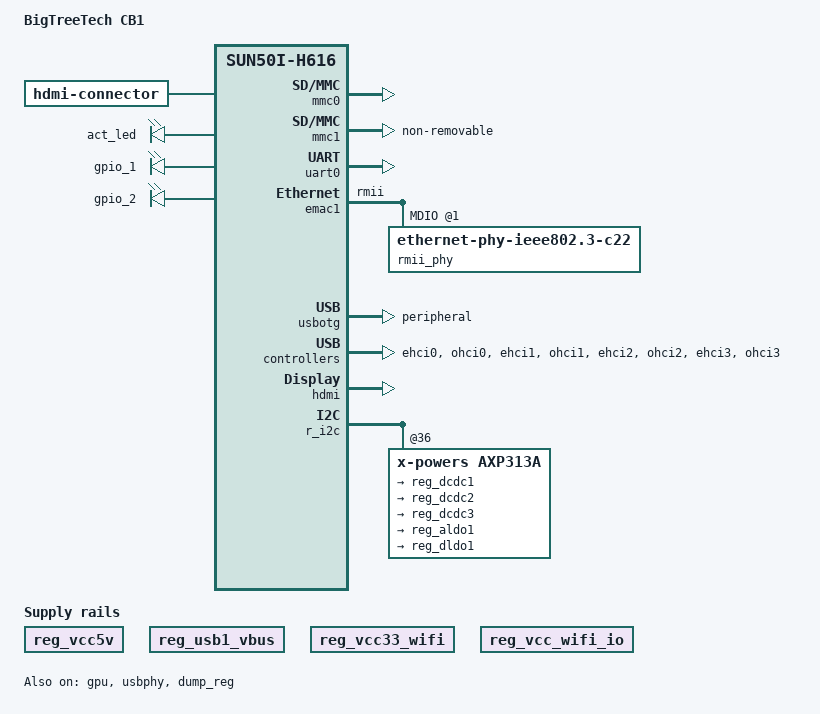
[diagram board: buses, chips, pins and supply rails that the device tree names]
/dts-v1/;

/ {
	model = "BigTreeTech CB1";
	compatible = "bigtreetech,cb1", "allwinner,sun50i-h616";

	cpus {

		cpu0: cpu@0 {
			compatible = "arm,cortex-a53";
			device_type = "cpu";
			enable-method = "psci";
			status = "okay";
		};

		cpu1: cpu@1 {
			compatible = "arm,cortex-a53";
			device_type = "cpu";
			enable-method = "psci";
		};

		cpu2: cpu@2 {
			compatible = "arm,cortex-a53";
			device_type = "cpu";
			enable-method = "psci";
		};

		cpu3: cpu@3 {
			compatible = "arm,cortex-a53";
			device_type = "cpu";
			enable-method = "psci";
		};
	};

	de: display-engine {
		compatible = "allwinner,sun50i-h6-display-engine";
		status = "okay";
	};

	reserved-memory {
		ranges;

		secmon@40000000 {
			no-map;
		};
	};

	osc24M: osc24M-clk {
		compatible = "fixed-clock";
		clock-output-names = "osc24M";
	};

	pmu {
		compatible = "arm,cortex-a53-pmu";
	};

	psci {
		compatible = "arm,psci-0.2";
		method = "smc";
	};

	timer {
		compatible = "arm,armv8-timer";
		arm,no-tick-in-suspend;
	};

	soc {
		compatible = "simple-bus";

		bus@1000000 {
			compatible = "allwinner,sun50i-h616-de33", "allwinner,sun50i-a64-de2";

			display_clocks: clock@8000 {
				compatible = "allwinner,sun50i-h616-de33-clk";
				clock-names = "mod", "bus";
			};

			mixer0: mixer@100000 {
				compatible = "allwinner,sun50i-h616-de33-mixer-0";
				clock-names = "bus", "mod";

				ports {

					mixer0_out: port@1 {

						mixer0_out_tcon_top_mixer0: endpoint {
						};
					};
				};
			};
		};

		dma: dma-controller@3002000 {
			compatible = "allwinner,sun50i-h6-dma";
			clock-names = "bus", "mbus";
		};

		gpu: gpu@1800000 {
			compatible = "allwinner,sun50i-h616-mali", "arm,mali-bifrost";
			interrupt-names = "job", "mmu", "gpu";
			clock-names = "core", "bus";
			status = "okay";
		};

		video-codec@1c0e000 {
			compatible = "allwinner,sun50i-h616-video-engine";
			clock-names = "ahb", "mod", "ram";
		};

		syscon: syscon@3000000 {
			compatible = "allwinner,sun50i-h616-system-control";
			ranges;

			sram_a2: sram@100000 {
				compatible = "mmio-sram";

				scpi_sram: scpi-sram@17c00 {
					compatible = "arm,scp-shmem";
				};
			};

			sram_c: sram@28000 {
				compatible = "mmio-sram";

				de3_sram: sram-section@0 {
					compatible = "allwinner,sun50i-h616-sram-c", "allwinner,sun50i-a64-sram-c";
				};
			};

			sram_c1: sram@1a00000 {
				compatible = "mmio-sram";

				ve_sram: sram-section@0 {
					compatible = "allwinner,sun50i-h616-sram-c1";
				};
			};
		};

		ccu: clock@3001000 {
			compatible = "allwinner,sun50i-h616-ccu";
			clock-names = "hosc", "losc", "iosc";
		};

		sid: efuse@3006000 {
			compatible = "allwinner,sun50i-h616-sid";

			cpu_speed_grade: cpu-speed-grade@0 {
			};

			ths_calibration: thermal-sensor-calibration@14 {
			};
		};

		watchdog: watchdog@30090a0 {
			compatible = "allwinner,sun50i-h616-wdt", "allwinner,sun6i-a31-wdt";
		};

		pio: pinctrl@300b000 {
			compatible = "allwinner,sun50i-h616-pinctrl";
			clock-names = "apb", "hosc", "losc";
			gpio-controller;
			interrupt-controller;

			ext_rgmii_pins: rgmii-pins {
				pins = "PI0", "PI1", "PI2", "PI3", "PI4", "PI5", "PI7", "PI8", "PI9", "PI10", "PI11", "PI12", "PI13", "PI14", "PI15", "PI16";
				function = "emac0";
			};

			i2c0_pins: i2c0-pins {
				pins = "PI6", "PI7";
				function = "i2c0";
			};

			i2c2_ph_pins: i2c2-ph-pins {
				pins = "PH2", "PH3";
				function = "i2c2";
			};

			i2c3_ph_pins: i2c3-ph-pins {
				pins = "PH4", "PH5";
				function = "i2c3";
			};

			i2c4_ph_pins: i2c4-ph-pins {
				pins = "PH6", "PH7";
				function = "i2c4";
			};

			ir_rx_pin: ir-rx-pin {
				pins = "PH10";
				function = "ir_rx";
			};

			mmc0_pins: mmc0-pins {
				pins = "PF0", "PF1", "PF2", "PF3", "PF4", "PF5";
				function = "mmc0";
				bias-pull-up;
			};

			mmc1_pins: mmc1-pins {
				pins = "PG0", "PG1", "PG2", "PG3", "PG4", "PG5";
				function = "mmc1";
				bias-pull-up;
			};

			mmc2_pins: mmc2-pins {
				pins = "PC0", "PC1", "PC5", "PC6", "PC8", "PC9", "PC10", "PC11", "PC13", "PC14", "PC15", "PC16";
				function = "mmc2";
				bias-pull-up;
			};

			rmii_pins: rmii-pins {
				pins = "PA0", "PA1", "PA2", "PA3", "PA4", "PA5", "PA6", "PA7", "PA8", "PA9";
				function = "emac1";
			};

			spi0_pins: spi0-pins {
				pins = "PC0", "PC2", "PC4";
				function = "spi0";
			};

			spi1_pins: spi1-pins {
				pins = "PH6", "PH7", "PH8";
				function = "spi1";
			};

			uart0_ph_pins: uart0-ph-pins {
				pins = "PH0", "PH1";
				function = "uart0";
			};

			uart2_pins: uart2-pins {
				pins = "PH5", "PH6";
				function = "uart2";
			};

			uart2_rts_cts_pins: uart2-rts-cts-pins {
				pins = "PH7", "PH8";
				function = "uart2";
			};

			uart5_pins: uart5-pins {
				pins = "PH2", "PH3";
				function = "uart5";
			};

			can0_pin_irq: can0_pin_irq {
				function = "irq";
				bias-pull-up;
				pins = "PC9";
			};
		};

		gic: interrupt-controller@3021000 {
			compatible = "arm,gic-400";
			interrupt-controller;
		};

		mmc0: mmc@4020000 {
			compatible = "allwinner,sun50i-h616-mmc", "allwinner,sun50i-a100-mmc";
			clock-names = "ahb", "mmc";
			reset-names = "ahb";
			pinctrl-names = "default";
			status = "okay";
			cap-sd-highspeed;
			cap-mmc-highspeed;
			mmc-ddr-3_3v;
			cap-sdio-irq;
			broken-cd;
		};

		mmc1: mmc@4021000 {
			compatible = "allwinner,sun50i-h616-mmc", "allwinner,sun50i-a100-mmc";
			clock-names = "ahb", "mmc";
			reset-names = "ahb";
			pinctrl-names = "default";
			status = "okay";
			cap-sd-highspeed;
			cap-mmc-highspeed;
			mmc-ddr-3_3v;
			cap-sdio-irq;
			non-removable;
			mmc-ddr-1_8v;
		};

		mmc2: mmc@4022000 {
			compatible = "allwinner,sun50i-h616-emmc", "allwinner,sun50i-a100-emmc";
			clock-names = "ahb", "mmc";
			reset-names = "ahb";
			pinctrl-names = "default";
			status = "disabled";
			cap-sd-highspeed;
			cap-mmc-highspeed;
			mmc-ddr-3_3v;
			cap-sdio-irq;
		};

		uart0: serial@5000000 {
			compatible = "snps,dw-apb-uart";
			status = "okay";
			pinctrl-names = "default";
		};

		uart1: serial@5000400 {
			compatible = "snps,dw-apb-uart";
			status = "disabled";
		};

		uart2: serial@5000800 {
			compatible = "snps,dw-apb-uart";
			status = "disabled";
		};

		uart3: serial@5000c00 {
			compatible = "snps,dw-apb-uart";
			status = "disabled";
		};

		uart4: serial@5001000 {
			compatible = "snps,dw-apb-uart";
			status = "disabled";
		};

		uart5: serial@5001400 {
			compatible = "snps,dw-apb-uart";
			status = "disabled";
		};

		i2c0: i2c@5002000 {
			compatible = "allwinner,sun50i-h616-i2c", "allwinner,sun8i-v536-i2c", "allwinner,sun6i-a31-i2c";
			pinctrl-names = "default";
			status = "disabled";
		};

		i2c1: i2c@5002400 {
			compatible = "allwinner,sun50i-h616-i2c", "allwinner,sun8i-v536-i2c", "allwinner,sun6i-a31-i2c";
			status = "disabled";
		};

		i2c2: i2c@5002800 {
			compatible = "allwinner,sun50i-h616-i2c", "allwinner,sun8i-v536-i2c", "allwinner,sun6i-a31-i2c";
			status = "disabled";
		};

		i2c3: i2c@5002c00 {
			compatible = "allwinner,sun50i-h616-i2c", "allwinner,sun8i-v536-i2c", "allwinner,sun6i-a31-i2c";
			status = "disabled";
		};

		i2c4: i2c@5003000 {
			compatible = "allwinner,sun50i-h616-i2c", "allwinner,sun8i-v536-i2c", "allwinner,sun6i-a31-i2c";
			status = "disabled";
		};

		spi0: spi@5010000 {
			compatible = "allwinner,sun50i-h616-spi", "allwinner,sun8i-h3-spi";
			clock-names = "ahb", "mod";
			dma-names = "rx", "tx";
			pinctrl-names = "default";
			status = "disabled";
		};

		spi1: spi@5011000 {
			compatible = "allwinner,sun50i-h616-spi", "allwinner,sun8i-h3-spi";
			clock-names = "ahb", "mod";
			dma-names = "rx", "tx";
			pinctrl-names = "default";
			status = "disabled";

			can: mcp2515@0 {
				status = "disabled";
				compatible = "microchip,mcp2515";
				pinctrl-names = "default";
			};

			tft_35: st7789v@1 {
				status = "disabled";
				compatible = "sitronix,st7796s";
				bgr;
				spi-cpol;
				spi-cpha;
			};
		};

		emac0: ethernet@5020000 {
			compatible = "allwinner,sun50i-h616-emac0", "allwinner,sun50i-a64-emac";
			interrupt-names = "macirq";
			clock-names = "stmmaceth";
			reset-names = "stmmaceth";
			status = "disabled";

			mdio0: mdio {
				compatible = "snps,dwmac-mdio";
			};
		};

		emac1: ethernet@5030000 {
			compatible = "allwinner,sun50i-h616-emac";
			interrupt-names = "macirq";
			reset-names = "stmmaceth";
			clock-names = "stmmaceth";
			status = "okay";
			pinctrl-names = "default";
			phy-mode = "rmii";

			mdio1: mdio {
				compatible = "snps,dwmac-mdio";

				rmii_phy: ethernet-phy@1 {
					compatible = "ethernet-phy-ieee802.3-c22";
				};
			};
		};

		usbotg: usb@5100000 {
			compatible = "allwinner,sun50i-h616-musb", "allwinner,sun8i-h3-musb";
			interrupt-names = "mc";
			phy-names = "usb";
			status = "okay";
			dr_mode = "peripheral";
		};

		usbphy: phy@5100400 {
			compatible = "allwinner,sun50i-h616-usb-phy";
			reg-names = "phy_ctrl", "pmu0", "pmu1", "pmu2", "pmu3";
			clock-names = "usb0_phy", "usb1_phy", "usb2_phy", "usb3_phy", "pmu2_clk";
			reset-names = "usb0_reset", "usb1_reset", "usb2_reset", "usb3_reset";
			status = "okay";
		};

		ehci0: usb@5101000 {
			compatible = "allwinner,sun50i-h616-ehci", "generic-ehci";
			phy-names = "usb";
			status = "okay";
		};

		ohci0: usb@5101400 {
			compatible = "allwinner,sun50i-h616-ohci", "generic-ohci";
			phy-names = "usb";
			status = "okay";
		};

		ehci1: usb@5200000 {
			compatible = "allwinner,sun50i-h616-ehci", "generic-ehci";
			phy-names = "usb";
			status = "okay";
		};

		ohci1: usb@5200400 {
			compatible = "allwinner,sun50i-h616-ohci", "generic-ohci";
			phy-names = "usb";
			status = "okay";
		};

		ehci2: usb@5310000 {
			compatible = "allwinner,sun50i-h616-ehci", "generic-ehci";
			phy-names = "usb";
			status = "okay";
		};

		ohci2: usb@5310400 {
			compatible = "allwinner,sun50i-h616-ohci", "generic-ohci";
			phy-names = "usb";
			status = "okay";
		};

		ehci3: usb@5311000 {
			compatible = "allwinner,sun50i-h616-ehci", "generic-ehci";
			phy-names = "usb";
			status = "okay";
		};

		ohci3: usb@5311400 {
			compatible = "allwinner,sun50i-h616-ohci", "generic-ohci";
			phy-names = "usb";
			status = "okay";
		};

		hdmi: hdmi@6000000 {
			compatible = "allwinner,sun50i-h616-dw-hdmi", "allwinner,sun50i-h6-dw-hdmi";
			clock-names = "iahb", "isfr", "tmds", "cec", "hdcp", "hdcp-bus";
			reset-names = "ctrl", "hdcp";
			phy-names = "phy";
			status = "okay";

			ports {

				hdmi_in: port@0 {

					hdmi_in_tcon_top: endpoint {
					};
				};

				hdmi_out: port@1 {

					hdmi_out_con: endpoint {
					};
				};
			};
		};

		hdmi_phy: hdmi-phy@6010000 {
			compatible = "allwinner,sun50i-h616-hdmi-phy";
			clock-names = "bus", "mod";
			reset-names = "phy";
		};

		tcon_top: tcon-top@6510000 {
			compatible = "allwinner,sun50i-h6-tcon-top";
			clock-names = "bus", "tcon-tv0";
			clock-output-names = "tcon-top-tv0";

			ports {

				tcon_top_mixer0_in: port@0 {

					tcon_top_mixer0_in_mixer0: endpoint@0 {
					};
				};

				tcon_top_mixer0_out: port@1 {

					tcon_top_mixer0_out_tcon_tv: endpoint@2 {
					};
				};

				tcon_top_hdmi_in: port@4 {

					tcon_top_hdmi_in_tcon_tv: endpoint@0 {
					};
				};

				tcon_top_hdmi_out: port@5 {

					tcon_top_hdmi_out_hdmi: endpoint {
					};
				};
			};
		};

		tcon_tv: lcd-controller@6515000 {
			compatible = "allwinner,sun50i-h6-tcon-tv", "allwinner,sun8i-r40-tcon-tv";
			clock-names = "ahb", "tcon-ch1";
			reset-names = "lcd";

			ports {

				tcon_tv_in: port@0 {

					tcon_tv_in_tcon_top_mixer0: endpoint {
					};
				};

				tcon_tv_out: port@1 {

					tcon_tv_out_tcon_top: endpoint@1 {
					};
				};
			};
		};

		rtc: rtc@7000000 {
			compatible = "allwinner,sun50i-h616-rtc";
			clock-names = "bus", "hosc", "pll-32k";
		};

		r_ccu: clock@7010000 {
			compatible = "allwinner,sun50i-h616-r-ccu";
			clock-names = "hosc", "losc", "iosc", "pll-periph";
		};

		r_pio: pinctrl@7022000 {
			compatible = "allwinner,sun50i-h616-r-pinctrl";
			clock-names = "apb", "hosc", "losc";
			gpio-controller;
			interrupt-controller;

			r_rsb_pins: r-rsb-pins {
				pins = "PL0", "PL1";
				function = "s_rsb";
			};
		};

		ir: ir@7040000 {
			compatible = "allwinner,sun50i-h616-ir", "allwinner,sun6i-a31-ir";
			clock-names = "apb", "ir";
			pinctrl-names = "default";
			status = "disabled";
		};

		r_i2c: i2c@7081400 {
			compatible = "allwinner,sun50i-h616-i2c", "allwinner,sun8i-v536-i2c", "allwinner,sun6i-a31-i2c";
			status = "okay";

			axp313a: pmic@36 {
				compatible = "x-powers,axp313a";
				wakeup-source;

				regulators {

					reg_dcdc1: dcdc1 {
						regulator-name = "axp313a-dcdc1";
						regulator-always-on;
					};

					reg_dcdc2: dcdc2 {
						regulator-name = "axp313a-dcdc2";
						regulator-always-on;
					};

					reg_dcdc3: dcdc3 {
						regulator-name = "axp313a-dcdc3";
						regulator-always-on;
					};

					reg_aldo1: aldo1 {
						regulator-name = "axp313a-aldo1";
						regulator-always-on;
					};

					reg_dldo1: dldo1 {
						regulator-name = "axp313a-dldo1";
						regulator-always-on;
					};
				};
			};
		};

		r_rsb: rsb@7083000 {
			compatible = "allwinner,sun50i-h616-rsb", "allwinner,sun8i-a23-rsb";
			pinctrl-names = "default";
			status = "disabled";
		};

		ths: thermal-sensor@5070400 {
			compatible = "allwinner,sun50i-h616-ths";
			clock-names = "bus";
			nvmem-cell-names = "calibration";
		};

		dump_reg: dump_reg@20000 {
			compatible = "allwinner,sunxi-dump-reg";
			status = "okay";
		};

		sunxi-info {
			compatible = "allwinner,sun50i-h616-sys-info";
			status = "okay";
		};

		addr_mgt: addr-mgt {
			compatible = "allwinner,sunxi-addr_mgt";
			status = "okay";
		};
	};

	thermal-zones {

		cpu-thermal {

			trips {

				cpu_threshold: trip-point@0 {
					type = "passive";
				};

				cpu_target: trip-point@1 {
					type = "passive";
				};

				cpu_temp_critical: trip-point@2 {
					type = "critical";
				};
			};

			cooling-maps {

				map0 {
				};
			};
		};

		gpu-thermal {

			trips {

				gpu_temp_critical: trip-point@0 {
					type = "critical";
				};
			};
		};

		ve-thermal {

			trips {

				ve_temp_critical: trip-point@0 {
					type = "critical";
				};
			};
		};

		ddr-thermal {

			trips {

				ddr_temp_critical: trip-point@0 {
					type = "critical";
				};
			};
		};
	};

	cpu_opp_table: opp-table-cpu {
		compatible = "allwinner,sun50i-h616-operating-points";
		opp-shared;

		opp-480000000 {
			opp-hz = /bits/ 64 <0x1c9c3800>;
		};

		opp-600000000 {
			opp-hz = /bits/ 64 <0x23c34600>;
		};

		opp-792000000 {
			opp-hz = /bits/ 64 <0x2f34f600>;
		};

		opp-1008000000 {
			opp-hz = /bits/ 64 <0x3c14dc00>;
		};

		opp-1200000000 {
			opp-hz = /bits/ 64 <0x47868c00>;
		};

		opp-1512000000 {
			opp-hz = /bits/ 64 <0x5a1f4a00>;
		};
	};

	aliases {
		ethernet0 = "/soc/ethernet@5030000";
		serial0 = "/soc/serial@5000000";
	};

	chosen {
		stdout-path = "serial0:115200n8";
	};

	connector {
		compatible = "hdmi-connector";
		type = "d";

		port {

			hdmi_con_in: endpoint {
			};
		};
	};

	leds {
		compatible = "gpio-leds";

		act_led: led-0 {
			linux,default-trigger = "heartbeat";
		};

		gpio_1 {
			function = "wifi_power";
			default-state = "on";
		};

		gpio_2 {
			function = "wifi_wake";
			default-state = "on";
		};
	};

	reg_vcc5v: regulator-vcc5v {
		compatible = "regulator-fixed";
		regulator-name = "vcc-5v";
		regulator-always-on;
	};

	reg_usb1_vbus: regulator-usb1-vbus {
		compatible = "regulator-fixed";
		regulator-name = "usb1-vbus";
		enable-active-high;
	};

	reg_vcc33_wifi: vcc33-wifi {
		compatible = "regulator-fixed";
		regulator-name = "vcc33-wifi";
		regulator-always-on;
	};

	reg_vcc_wifi_io: vcc-wifi-io {
		compatible = "regulator-fixed";
		regulator-name = "vcc-wifi-io";
		regulator-always-on;
	};

	wifi_pwrseq: wifi-pwrseq {
		compatible = "mmc-pwrseq-simple";
		clock-names = "osc32k-out";
	};

	ws2812: ws2812 {
		compatible = "rgb-ws2812";
		pinctrl-names = "default";
		status = "disabled";
	};

	i2c_gpio: i2c-gpio {
		compatible = "i2c-gpio";
		status = "disabled";

		tft_tp: ns2009@48 {
			compatible = "ti,tsc2007";
			status = "disabled";
		};

		light: bh1750@5c {
			compatible = "rohm,bh1750";
			status = "disabled";
		};
	};

	mcp2515_clock: mcp2515_clock {
		compatible = "fixed-clock";
	};
};
